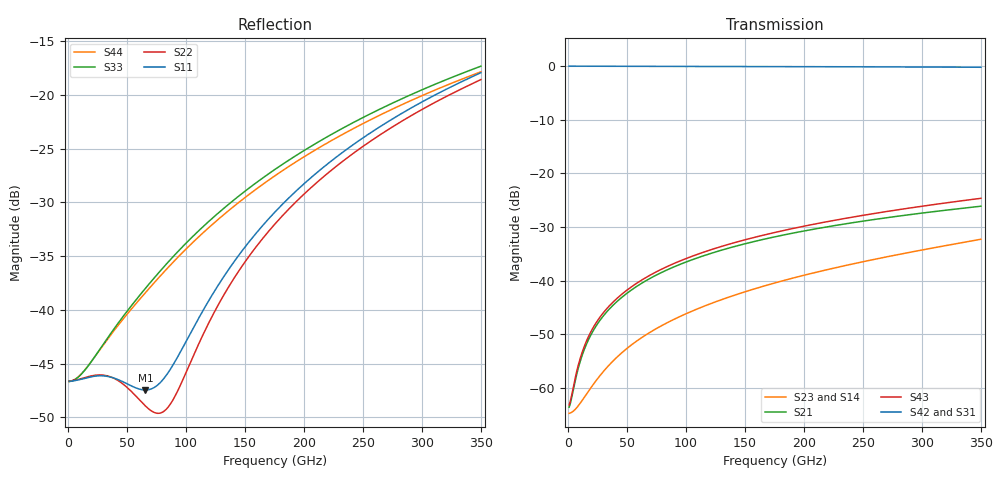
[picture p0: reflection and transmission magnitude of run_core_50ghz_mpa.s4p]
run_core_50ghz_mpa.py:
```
import os
import sys
sys.path.insert(0, os.path.abspath(os.path.join(os.path.dirname(__file__), 'modules')))

import modules.util_stackup_reader as stackup_reader
import modules.util_gds_reader as gds_reader
import modules.util_utilities as utilities
import modules.util_simulation_setup as simulation_setup
import modules.util_meshlines as util_meshlines

import os
import matplotlib.pyplot as plt  # pip install matplotlib
import numpy as np
from CSXCAD import ContinuousStructure
from CSXCAD import AppCSXCAD_BIN
from openEMS import openEMS
from openEMS.physical_constants import *


# Model comments
# Changes for IHP Analog Academy in 01/2026:
# Changed to MUR boundary at zmax so that radiation can be absorbed.
# From experience, using MUR can create numerical issue when it touches the lossy silicon, so it is ONLY used at zmax.
# All other boundaries use PEC, for best simulation speed.
# Distance to side walls reduced, we have not much field there because of the Metal1 ground layout.


# ======================== workflow settings ================================

# preview model/mesh only?
# postprocess existing data without re-running simulation?
preview_only = True   
postprocess_only = False

# ===================== input files and path settings =======================

# GDS filename
gds_filename = "../layout_gds/50_ghz_mpa_core_no_BJT.gds"      # geometries
XML_filename = "SG13G2.xml"       # stackup

# preprocess GDSII for safe handling of cutouts/holes?
preprocess_gds = False

# merge polygons with distance less than xxx um, or set to 0 to disable via array merging
merge_polygon_size = 0.5

# get path for this simulation file
script_path = utilities.get_script_path(__file__)

# use script filename as model basename
model_basename = utilities.get_basename(__file__)

# set and create directory for simulation output
sim_path = utilities.create_sim_path (script_path,model_basename)
print('Simulation data directory: ', sim_path)


# ======================== simulation settings ================================

unit   = 1e-6   # geometry is in microns
margin = 20    # distance in microns from GDSII geometry boundary to simulation boundary 

fstart = 0
fstop  = 350e9
numfreq = 401

refined_cellsize = 0.5  # mesh cell size in conductor region

# choices for boundary xmin,xmax,ymin,ymax,zmin,zmax: 
# 'PEC' : perfect electric conductor (default)
# 'PMC' : perfect magnetic conductor, useful for symmetries
# 'MUR' : simple MUR absorbing boundary conditions
# 'PML_8' : PML absorbing boundary conditions
Boundaries = ['PEC', 'PEC', 'PEC', 'PEC', 'PEC', 'MUR']

cells_per_wavelength = 20   # how many mesh cells per wavelength, must be 10 or more
energy_limit = -50          # end criteria for residual energy (dB)

# ports from GDSII Data, polygon geometry from specified special layer
# note that for multiport simulation, excitations are switched on/off in simulation_setup.createSimulation below
simulation_ports = simulation_setup.all_simulation_ports()
# instead of in-plane port specified with target_layername, we here use via port specified with from_layername and to_layername. GND means bottom of simulation box
simulation_ports.add_port(simulation_setup.simulation_port(portnumber=1, voltage=1, port_Z0=50, source_layernum=201, from_layername='Metal3', to_layername='TopMetal2', direction='z'))
simulation_ports.add_port(simulation_setup.simulation_port(portnumber=2, voltage=1, port_Z0=50, source_layernum=202, from_layername='Metal3', to_layername='TopMetal2', direction='z'))
simulation_ports.add_port(simulation_setup.simulation_port(portnumber=3, voltage=1, port_Z0=50, source_layernum=203, target_layername='Metal2', direction='-x'))
simulation_ports.add_port(simulation_setup.simulation_port(portnumber=4, voltage=1, port_Z0=50, source_layernum=204, target_layername='Metal2', direction='x'))

# ======================== simulation ================================

# get technology stackup data
materials_list, dielectrics_list, metals_list = stackup_reader.read_substrate (XML_filename)
# get list of layers from technology
layernumbers = metals_list.getlayernumbers()
layernumbers.extend(simulation_ports.portlayers)

# read geometries from GDSII, only purpose 0
allpolygons = gds_reader.read_gds(gds_filename, layernumbers, purposelist=[0], metals_list=metals_list, preprocess=preprocess_gds, merge_polygon_size=merge_polygon_size)


# calculate maximum cellsize from wavelength in dielectric
wavelength_air = 3e8/fstop
max_cellsize = (wavelength_air/unit)/(np.sqrt(materials_list.eps_max)*cells_per_wavelength) 


########### create model, run and post-process ###########


# Create simulation for port 1 .. 4 excitation, return value is data path for that excitation

FDTD = openEMS(EndCriteria=np.exp(energy_limit/10 * np.log(10)))
FDTD.SetGaussExcite( (fstart+fstop)/2, (fstop-fstart)/2 )
FDTD.SetBoundaryCond( Boundaries )

excite_ports_list = [[1],[2],[3],[4]]  # list of ports that are excited in the different excitation runs
for excite_ports in excite_ports_list:
    # define excitation and stop criteria and boundaries
    FDTD = simulation_setup.setupSimulation (excite_ports, simulation_ports, FDTD, materials_list, dielectrics_list, metals_list, allpolygons, max_cellsize, refined_cellsize, margin, unit, xy_mesh_function=util_meshlines.create_xy_mesh_from_polygons)
    simulation_setup.runSimulation (excite_ports, FDTD, sim_path, model_basename, preview_only, postprocess_only)


if preview_only==False:

    print('Begin data evaluation')

    # define dB function for S-parameters
    def dB(value):
        return 20.0*np.log10(np.abs(value))        

    # define phase function for S-parameters
    def phase(value):
        return np.angle(value, deg=True) 

    f = np.linspace(fstart,fstop,numfreq)

    # get results, CSX port definition is read from simulation ports object
    # all S-parameter data is available because we have simulated all port excitations
    s11 = utilities.calculate_Sij (1, 1, f, sim_path, simulation_ports)
    s21 = utilities.calculate_Sij (2, 1, f, sim_path, simulation_ports)
    s31 = utilities.calculate_Sij (3, 1, f, sim_path, simulation_ports)
    s41 = utilities.calculate_Sij (4, 1, f, sim_path, simulation_ports)
    s12 = utilities.calculate_Sij (1, 2, f, sim_path, simulation_ports)
    s22 = utilities.calculate_Sij (2, 2, f, sim_path, simulation_ports)
    s32 = utilities.calculate_Sij (3, 2, f, sim_path, simulation_ports)
    s42 = utilities.calculate_Sij (4, 2, f, sim_path, simulation_ports)
    s13 = utilities.calculate_Sij (1, 3, f, sim_path, simulation_ports)
    s23 = utilities.calculate_Sij (2, 3, f, sim_path, simulation_ports)
    s33 = utilities.calculate_Sij (3, 3, f, sim_path, simulation_ports)
    s43 = utilities.calculate_Sij (4, 3, f, sim_path, simulation_ports)
    s14 = utilities.calculate_Sij (1, 4, f, sim_path, simulation_ports)
    s24 = utilities.calculate_Sij (2, 4, f, sim_path, simulation_ports)
    s34 = utilities.calculate_Sij (3, 4, f, sim_path, simulation_ports)
    s44 = utilities.calculate_Sij (4, 4, f, sim_path, simulation_ports)

    s4p_name = os.path.join(sim_path, model_basename + '.s4p')
    utilities.write_snp (np.array([[s11,s21,s31,s41], [s12,s22,s32,s42], [s13,s23,s33,s43], [s14,s24,s34,s44]]),f, s4p_name)

    print('\nStarting plots')

    fig, axis = plt.subplots(num="S11_dB", tight_layout=True)
    axis.plot(f/1e9, dB(s11), 'k-',  linewidth=2, label='dB(S11)')
    axis.grid()
    axis.set_xmargin(0)
    axis.set_xlabel('Frequency (GHz)')
    axis.set_ylabel('S (dB)')
    axis.legend()

    fig, axis = plt.subplots(num="S11_ang", tight_layout=True)
    axis.plot(f/1e9, phase(s11), 'k-',  linewidth=2, label='ang(S11)')
    axis.grid()
    axis.set_xmargin(0)
    axis.set_xlabel('Frequency (GHz)')
    axis.set_ylabel('angle degree')
    axis.legend()

    fig, axis = plt.subplots(num="S31_ang", tight_layout=True)
    axis.plot(f/1e9, phase(s31), 'k-',  linewidth=2, label='ang(S31)')
    axis.grid()
    axis.set_xmargin(0)
    axis.set_xlabel('Frequency (GHz)')
    axis.set_ylabel('angle degree')
    axis.legend()

    # show all plots
    plt.show()
```
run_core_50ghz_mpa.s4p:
#  Hz  S  RI  R  50
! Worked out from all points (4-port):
!   400 points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, 875 MHz to 350 GHz, reference 50 ohm
!   strongest paths, dB at 875 MHz, 88.38 GHz, 175.9 GHz, 263.4 GHz, 350 GHz:
!     S42: 0.0, -0.1, -0.1, -0.2, -0.2
!     S31: 0.0, -0.1, -0.1, -0.2, -0.3
!     S43: -63.2, -36.9, -31.0, -27.4, -24.7
!     S21: -63.6, -37.6, -31.8, -28.5, -26.1
!     S23: -64.7, -47.4, -40.4, -35.9, -32.3
!     S14: -64.7, -47.5, -40.5, -36.0, -32.4
!   lowest |S11| = -47.4 dB at 65.62 GHz (marker M1), VSWR 1.01, Z = 50.2 - j0.377 ohm
!   |S11| at or under -10 dB: start of sweep to end of sweep
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8.75e8  0.00466 -1.41e-06  0.000647 0.000137  0.9949 -0.00209  -0.00058 3.41e-05
        0.000647 0.000137  0.00468 1.53e-05  -0.000579 3.5e-05  0.9948 -0.0021
        0.9949 -0.00211  -0.000585 2.65e-05  0.00464 1.05e-06  0.000677 0.000149
        -0.000584 2.72e-05  0.9948 -0.00211  0.000678 0.000149  0.00465 2.72e-05
6.5625e10  0.00197 -0.00376  0.00377 0.00918  0.9799 -0.1506  -0.000428 0.00302
           0.00377 0.00917  0.00248 -0.00257  -0.000417 0.00308  0.9798 -0.1506
           0.9797 -0.1517  -0.00056 0.00255  0.0116 -0.005  0.00135 0.0105
           -0.000542 0.0026  0.9798 -0.1512  0.00134 0.0105  0.0116 -0.00305
3.5e11  -0.1077 0.0667  0.0493 -0.00182  0.6703 -0.7015  0.0204 0.0127
        0.0493 -0.00186  -0.0987 0.0639  0.0205 0.013  0.6708 -0.7011
        0.6649 -0.7065  0.0184 0.0115  0.0653 -0.1191  0.0127 0.0569
        0.0188 0.0115  0.6686 -0.7054  0.0125 0.0571  0.0667 -0.109
